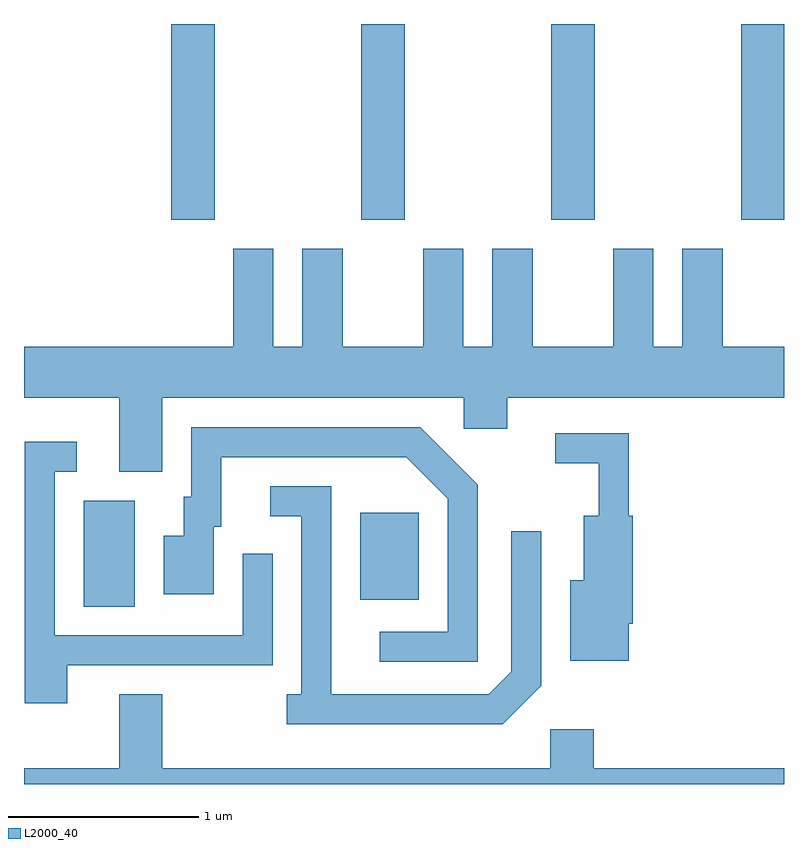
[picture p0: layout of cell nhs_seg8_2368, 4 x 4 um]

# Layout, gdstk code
import gdstk
lib = gdstk.Library(unit=1e-6, precision=1e-09)
def R(c, l, rs):  # rectangles x0, y0, x1, y1
    for r in rs: c.add(gdstk.rectangle(r[:2], r[2:], *l))
def A(c, l, x, y, w, h, nx, ny, dx, dy):  # array of equal rectangles
    R(c, l, [(x+i*dx, y+j*dy, x+i*dx+w, y+j*dy+h) for i in range(nx) for j in range(ny)])
def P(c, l, *ps):  # polygons
    for p in ps: c.add(gdstk.Polygon(p, *l))
L2000_40 = (2000, 40)

nhs_seg8_2368 = lib.new_cell('nhs_seg8_2368')
A(nhs_seg8_2368, L2000_40, 256.386, 1877.311, 0.228, 1.031, 3, 1, 1, 0)
R(nhs_seg8_2368, L2000_40, [(255.926,1875.276,256.194,1875.834), (257.381,1875.311,257.689,1875.769), (259.386,1877.311,259.611,1878.342)])
P(nhs_seg8_2368, L2000_40, [(256.339,1876.376),(257.926,1876.376),(257.926,1876.211),(258.154,1876.211),(258.154,1876.376),(259.611,1876.376),(259.611,1876.644),(259.289,1876.644),(259.289,1877.159),(259.076,1877.159),(259.076,1876.644),(258.924,1876.644),(258.924,1877.159),(258.711,1877.159),(258.711,1876.644),(258.289,1876.644),(258.289,1877.159),(258.076,1877.159),(258.076,1876.644),(257.924,1876.644),(257.924,1877.159),(257.711,1877.159),(257.711,1876.644),(257.289,1876.644),(257.289,1877.159),(257.076,1877.159),(257.076,1876.644),(256.924,1876.644),(256.924,1877.159),(256.711,1877.159),(256.711,1876.644),(255.611,1876.644),(255.611,1876.376),(256.111,1876.376),(256.111,1875.986),(256.339,1875.986)],
  [(257.999,1875.917),(257.697,1876.219),(256.491,1876.219),(256.491,1875.854),(256.451,1875.854),(256.451,1875.649),(256.346,1875.649),(256.346,1875.341),(256.609,1875.341),(256.609,1875.696),(256.649,1875.696),(256.649,1876.061),(257.623,1876.061),(257.841,1875.844),(257.841,1875.144),(257.483,1875.144),(257.483,1874.986),(257.999,1874.986)],
  [(258.794,1875.186),(258.814,1875.186),(258.814,1875.754),(258.794,1875.754),(258.794,1876.189),(258.408,1876.189),(258.408,1876.031),(258.636,1876.031),(258.636,1875.754),(258.556,1875.754),(258.556,1875.414),(258.486,1875.414),(258.486,1874.991),(258.794,1874.991)],
  [(255.839,1874.966),(256.919,1874.966),(256.919,1875.553),(256.761,1875.553),(256.761,1875.124),(255.774,1875.124),(255.774,1875.986),(255.888,1875.986),(255.888,1876.144),(255.616,1876.144),(255.616,1874.766),(255.839,1874.766)],
  [(258.334,1874.859),(258.334,1875.673),(258.176,1875.673),(258.176,1874.932),(258.058,1874.814),(257.229,1874.814),(257.229,1875.909),(256.908,1875.909),(256.908,1875.751),(257.071,1875.751),(257.071,1874.814),(256.993,1874.814),(256.993,1874.656),(258.132,1874.656)],
  [(259.611,1874.424),(258.609,1874.424),(258.609,1874.629),(258.381,1874.629),(258.381,1874.424),(256.339,1874.424),(256.339,1874.814),(256.111,1874.814),(256.111,1874.424),(255.611,1874.424),(255.611,1874.342),(259.611,1874.342)])

lib.write_gds('nhs_seg8_2368.gds')
